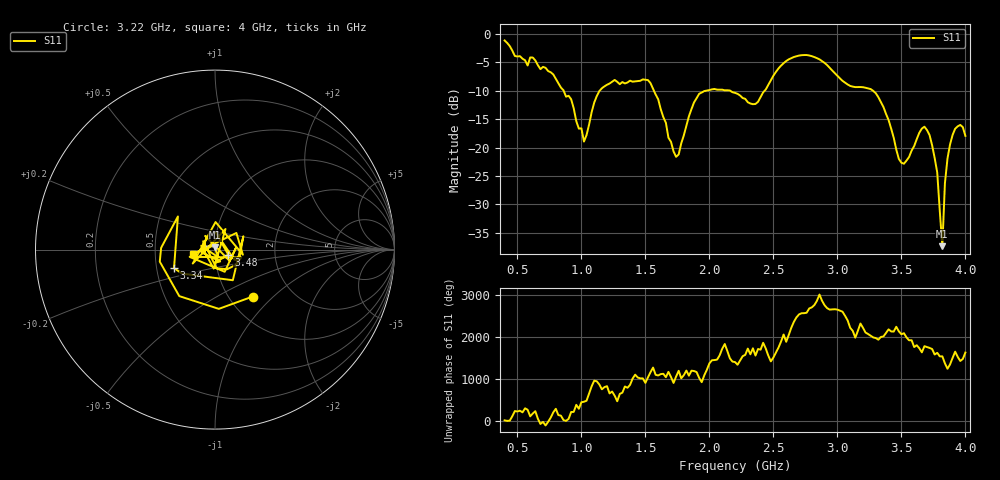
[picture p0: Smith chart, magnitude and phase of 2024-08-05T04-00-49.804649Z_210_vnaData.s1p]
!Created with skrf (http://scikit-rf.org).
# Hz S RI R 50.0
!freq ReS11 ImS11
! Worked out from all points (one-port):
!   181 points, 400 MHz to 4 GHz, reference 50 ohm
!   lowest |S11| = -37.4 dB at 3.82 GHz (marker M1), VSWR 1.03, Z = 49.7 + j1.33 ohm
!   |S11| at or under -10 dB: 861.2 MHz to 1.143 GHz (281.7 MHz wide, 28.1 % of centre); 1.567 GHz to 1.974 GHz (407.1 MHz wide, 23 % of centre); 3.278 GHz to end of sweep (the widest 3 of 4)
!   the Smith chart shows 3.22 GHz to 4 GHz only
!   S11 on the Smith chart (normalised r, x): 3.22 GHz: 1.28, -0.76; 3.34 GHz: 0.62, -0.14; 3.48 GHz: 1.16, -0.07; 4 GHz: 0.78, -0.04
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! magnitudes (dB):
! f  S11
! 400 MHz  -1.2
! 860 MHz  -9.9
! 920 MHz  -11.5
! 1.02 GHz  -19.0
! 1.14 GHz  -10.1
! 1.3 GHz  -8.9
! 1.52 GHz  -8.1
! 1.6 GHz  -11.5
! 1.72 GHz  -20.7
! 1.76 GHz  -21.2
! 1.92 GHz  -10.5
! 2.2 GHz  -10.4
! 2.36 GHz  -12.3
! 2.66 GHz  -4.1
! 2.86 GHz  -4.5
! 3.1 GHz  -9.2
! 3.22 GHz  -9.5
! 3.34 GHz  -12.0
! 3.48 GHz  -22.0
! 3.56 GHz  -21.7
! 3.66 GHz  -16.7
! 3.72 GHz  -17.8
! 3.78 GHz  -24.4
! 3.82 GHz  -37.4
! 3.84 GHz  -26.3
! 3.88 GHz  -19.5
! 3.94 GHz  -16.3
! 4 GHz  -18.0
